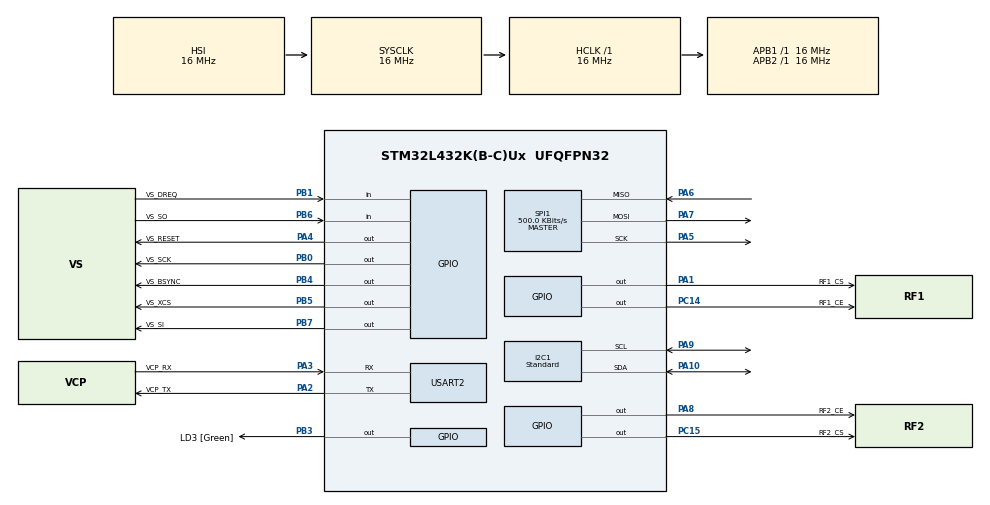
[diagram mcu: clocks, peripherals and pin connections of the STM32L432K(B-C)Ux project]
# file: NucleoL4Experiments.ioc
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I2C1.I2C_Speed_Mode=I2C_Standard
I2C1.Timing=0x00303D5B
Mcu.Family=STM32L4
Mcu.Name=STM32L432K(B-C)Ux
Mcu.Package=UFQFPN32
NVIC.PriorityGroup=NVIC_PRIORITYGROUP_4
NVIC.USART2_IRQn=true\:0\:0\:false\:false\:true\:true
PA0.Signal=RCC_CK_IN
PA1.GPIO_Label=RF1_CS
PA1.GPIO_Speed=GPIO_SPEED_FREQ_VERY_HIGH
PA1.PinState=GPIO_PIN_SET
PA1.Signal=GPIO_Output
PA10.Mode=I2C
PA10.Signal=I2C1_SDA
PA11.Signal=USB_DM
PA12.Signal=USB_DP
PA13\ (JTMS-SWDIO).GPIO_Label=SWDIO
PA13\ (JTMS-SWDIO).Mode=Serial_Wire
PA13\ (JTMS-SWDIO).Signal=SYS_JTMS-SWDIO
PA14\ (JTCK-SWCLK).GPIO_Label=SWCLK
PA14\ (JTCK-SWCLK).Mode=Serial_Wire
PA14\ (JTCK-SWCLK).Signal=SYS_JTCK-SWCLK
PA2.GPIO_Label=VCP_TX
PA2.Mode=Asynchronous
PA2.Signal=USART2_TX
PA3.GPIO_Label=VCP_RX
PA3.Mode=Asynchronous
PA3.Signal=USART2_RX
PA4.GPIO_Label=VS_RESET
PA4.PinState=GPIO_PIN_SET
PA4.Signal=GPIO_Output
PA5.Mode=Full_Duplex_Master
PA5.Signal=SPI1_SCK
PA6.Mode=Full_Duplex_Master
PA6.Signal=SPI1_MISO
PA7.Mode=Full_Duplex_Master
PA7.Signal=SPI1_MOSI
PA8.GPIO_Label=RF2_CE
PA8.GPIO_Speed=GPIO_SPEED_FREQ_VERY_HIGH
PA8.Signal=GPIO_Output
PA9.Mode=I2C
PA9.Signal=I2C1_SCL
PB0.GPIO_Label=VS_SCK
PB0.GPIO_Speed=GPIO_SPEED_FREQ_VERY_HIGH
PB0.Signal=GPIO_Output
PB1.GPIO_Label=VS_DREQ
PB1.Signal=GPIO_Input
PB3\ (JTDO-TRACESWO).GPIO_Label=LD3 [Green]
PB3\ (JTDO-TRACESWO).Signal=GPIO_Output
PB4\ (NJTRST).GPIO_Label=VS_BSYNC
PB4\ (NJTRST).GPIO_Speed=GPIO_SPEED_FREQ_VERY_HIGH
PB4\ (NJTRST).PinState=GPIO_PIN_SET
PB4\ (NJTRST).Signal=GPIO_Output
PB5.GPIO_Label=VS_XCS
PB5.GPIO_Speed=GPIO_SPEED_FREQ_VERY_HIGH
PB5.PinState=GPIO_PIN_SET
PB5.Signal=GPIO_Output
PB6.GPIO_Label=VS_SO
PB6.Signal=GPIO_Input
PB7.GPIO_Label=VS_SI
PB7.GPIO_Speed=GPIO_SPEED_FREQ_VERY_HIGH
PB7.Signal=GPIO_Output
PC14-OSC32_IN\ (PC14).GPIO_Label=RF1_CE
PC14-OSC32_IN\ (PC14).GPIO_Speed=GPIO_SPEED_FREQ_VERY_HIGH
PC14-OSC32_IN\ (PC14).Signal=GPIO_Output
PC15-OSC32_OUT\ (PC15).GPIO_Label=RF2_CS
PC15-OSC32_OUT\ (PC15).GPIO_Speed=GPIO_SPEED_FREQ_LOW
PC15-OSC32_OUT\ (PC15).PinState=GPIO_PIN_SET
PC15-OSC32_OUT\ (PC15).Signal=GPIO_Output
ProjectManager.HeapSize=0x200
ProjectManager.StackSize=0x400
ProjectManager.TargetToolchain=TrueSTUDIO
RCC.ADCFreq_Value=96000000
RCC.AHBFreq_Value=16000000
RCC.APB1Freq_Value=16000000
RCC.APB1TimFreq_Value=16000000
RCC.APB2Freq_Value=16000000
RCC.APB2TimFreq_Value=16000000
RCC.CortexFreq_Value=16000000
RCC.HCLKFreq_Value=16000000
RCC.HSE_VALUE=8000000
RCC.HSI16_VALUE=16000000
RCC.HSI48_VALUE=48000000
RCC.HSI_VALUE=16000000
RCC.LSE_VALUE=32768
RCC.MSI_VALUE=4000000
RCC.PLLMUL=RCC_PLLMUL_4
RCC.PLLN=20
RCC.PLLSAI1N=12
RCC.PLLSourceVirtual=RCC_PLLSOURCE_HSI
RCC.SYSCLKFreq_VALUE=16000000
RCC.SYSCLKSource=RCC_SYSCLKSOURCE_HSI
RCC.USBFreq_Value=96000000
RCC.VCOOutputFreq_Value=320000000
SPI1.BaudRatePrescaler=SPI_BAUDRATEPRESCALER_32
SPI1.CalculateBaudRate=500.0 KBits/s
SPI1.DataSize=SPI_DATASIZE_8BIT
SPI1.Direction=SPI_DIRECTION_2LINES
SPI1.Mode=SPI_MODE_MASTER
SPI1.VirtualType=VM_MASTER
USART2.VirtualMode-Asynchronous=VM_ASYNC
board=NUCLEO-L432KC

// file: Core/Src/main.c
/**
  ******************************************************************************
  * @file           : main.c
  * @brief          : Main program body
  ******************************************************************************
  ** This notice applies to any and all portions of this file
  * that are not between comment pairs USER CODE BEGIN and
  * USER CODE END. Other portions of this file, whether
  * inserted by the user or by software development tools
  * are owned by their respective copyright owners.
  *
  * COPYRIGHT(c) 2018 STMicroelectronics
  *
  * Redistribution and use in source and binary forms, with or without modification,
  * are permitted provided that the following conditions are met:
  *   1. Redistributions of source code must retain the above copyright notice,
  *      this list of conditions and the following disclaimer.
  *   2. Redistributions in binary form must reproduce the above copyright notice,
  *      this list of conditions and the following disclaimer in the documentation
  *      and/or other materials provided with the distribution.
  *   3. Neither the name of STMicroelectronics nor the names of its contributors
  *      may be used to endorse or promote products derived from this software
  *      without specific prior written permission.
  *
  * THIS SOFTWARE IS PROVIDED BY THE COPYRIGHT HOLDERS AND CONTRIBUTORS "AS IS"
  * AND ANY EXPRESS OR IMPLIED WARRANTIES, INCLUDING, BUT NOT LIMITED TO, THE
  * IMPLIED WARRANTIES OF MERCHANTABILITY AND FITNESS FOR A PARTICULAR PURPOSE ARE
  * DISCLAIMED. IN NO EVENT SHALL THE COPYRIGHT HOLDER OR CONTRIBUTORS BE LIABLE
  * FOR ANY DIRECT, INDIRECT, INCIDENTAL, SPECIAL, EXEMPLARY, OR CONSEQUENTIAL
  * DAMAGES (INCLUDING, BUT NOT LIMITED TO, PROCUREMENT OF SUBSTITUTE GOODS OR
  * SERVICES; LOSS OF USE, DATA, OR PROFITS; OR BUSINESS INTERRUPTION) HOWEVER
  * CAUSED AND ON ANY THEORY OF LIABILITY, WHETHER IN CONTRACT, STRICT LIABILITY,
  * OR TORT (INCLUDING NEGLIGENCE OR OTHERWISE) ARISING IN ANY WAY OUT OF THE USE
  * OF THIS SOFTWARE, EVEN IF ADVISED OF THE POSSIBILITY OF SUCH DAMAGE.
  *
  ******************************************************************************
  */
#include "main.h"
#include "stm32l4xx_hal.h"
#include "i2c.h"
#include "spi.h"
#include "usart.h"
#include "gpio.h"

/* USER CODE BEGIN Includes */

#include <stdbool.h>
#include <stdlib.h>
#include "vl53l0x_api.h"
//#include "player.h"
//#include "vs10xx.h"

/* USER CODE END Includes */

/* USER CODE BEGIN PV */
/* Private variables ---------------------------------------------------------*/

uint8_t rgbAddress[] = { 0xC0, 0xC2, 0xC4, 0xC6, 0xC8, 0xCA };

#define RGB_DRIVERS_CNT (sizeof(rgbAddress)/sizeof(rgbAddress[0]))

/* USER CODE END PV */

void SystemClock_Config(void);

/* USER CODE BEGIN PFP */
/* Private function prototypes -----------------------------------------------*/

void setRGB(size_t index, uint32_t rgb);

/* USER CODE END PFP */

/* USER CODE BEGIN 0 */

int _write(int file, char *ptr, int len)
{
  HAL_UART_Transmit(&huart2, (uint8_t*)ptr, len, 0x1000);
  return len;
}

//void WriteSci(u_int8 addr, u_int16 data)
//{
//    uint8_t i, tmp = 0b00000010;
//
//    // initially
//    // XCS 1
//    HAL_GPIO_WritePin(VS_XCS_GPIO_Port, VS_XCS_Pin, GPIO_PIN_SET);
//    // SCK 0
//    HAL_GPIO_WritePin(VS_SCK_GPIO_Port, VS_SCK_Pin, GPIO_PIN_RESET);
//    // SI x
//    // SO x
//    // DREQ 1
//    while (HAL_GPIO_ReadPin(VS_DREQ_GPIO_Port, VS_DREQ_Pin) == GPIO_PIN_RESET)
//        HAL_Delay(10);
//
//    // XCS = 0
//    HAL_GPIO_WritePin(VS_XCS_GPIO_Port, VS_XCS_Pin, GPIO_PIN_RESET);
//    // to SI 00000010 with SCK 10
//    for (i = 0; i < 8; i++)
//    {
//        HAL_GPIO_WritePin(VS_SI_GPIO_Port, VS_SI_Pin,
//                ((tmp&0x80)?GPIO_PIN_SET:GPIO_PIN_RESET));
//        tmp = tmp << 1;
//        HAL_GPIO_WritePin(VS_SCK_GPIO_Port, VS_SCK_Pin, GPIO_PIN_SET);
//        HAL_Delay(1);
//        HAL_GPIO_WritePin(VS_SCK_GPIO_Port, VS_SCK_Pin, GPIO_PIN_RESET);
//        HAL_Delay(1);
//    }
//    // to SI msb8address with SCK 10
//    for (i = 0; i < 8; i++)
//    {
//        HAL_GPIO_WritePin(VS_SI_GPIO_Port, VS_SI_Pin,
//                ((addr&0x80)?GPIO_PIN_SET:GPIO_PIN_RESET));
//        addr = addr << 1;
//        HAL_GPIO_WritePin(VS_SCK_GPIO_Port, VS_SCK_Pin, GPIO_PIN_SET);
//        HAL_Delay(1);
//        HAL_GPIO_WritePin(VS_SCK_GPIO_Port, VS_SCK_Pin, GPIO_PIN_RESET);
//        HAL_Delay(1);
//    }
//    // to SI msb16data with SCK 10
//    for (i = 0; i < 16; i++)
//    {
//        HAL_GPIO_WritePin(VS_SI_GPIO_Port, VS_SI_Pin,
//                ((data&0x8000)?GPIO_PIN_SET:GPIO_PIN_RESET));
//        data = data << 1;
//        HAL_GPIO_WritePin(VS_SCK_GPIO_Port, VS_SCK_Pin, GPIO_PIN_SET);
//        HAL_Delay(1);
//        HAL_GPIO_WritePin(VS_SCK_GPIO_Port, VS_SCK_Pin, GPIO_PIN_RESET);
//        HAL_Delay(1);
//    }
//    // DREQ = 0
//    // XCS = 1
//    HAL_GPIO_WritePin(VS_XCS_GPIO_Port, VS_XCS_Pin, GPIO_PIN_SET);
//    // DREQ = 1
//    while (HAL_GPIO_ReadPin(VS_DREQ_GPIO_Port, VS_DREQ_Pin) == GPIO_PIN_RESET)
//        HAL_Delay(10);
//}
//
//u_int16 ReadSci(u_int8 addr)
//{
//    uint8_t i, tmp = 0b00000011;
//    uint16_t data = 0;
//    // initially
//    // XCS 1
//    HAL_GPIO_WritePin(VS_XCS_GPIO_Port, VS_XCS_Pin, GPIO_PIN_SET);
//    // SCK 0
//    HAL_GPIO_WritePin(VS_SCK_GPIO_Port, VS_SCK_Pin, GPIO_PIN_RESET);
//    // SI x
//    // SO x
//    // DREQ 1
//    while (HAL_GPIO_ReadPin(VS_DREQ_GPIO_Port, VS_DREQ_Pin) == GPIO_PIN_RESET)
//        HAL_Delay(10);
//
//    // XCS = 0
//    HAL_GPIO_WritePin(VS_XCS_GPIO_Port, VS_XCS_Pin, GPIO_PIN_RESET);
//    // to SI 00000011 with SCK 10
//    for (i = 0; i < 8; i++)
//    {
//        HAL_GPIO_WritePin(VS_SI_GPIO_Port, VS_SI_Pin,
//                ((tmp&0x80)?GPIO_PIN_SET:GPIO_PIN_RESET));
//        tmp = tmp << 1;
//        HAL_GPIO_WritePin(VS_SCK_GPIO_Port, VS_SCK_Pin, GPIO_PIN_SET);
//        HAL_Delay(1);
//        HAL_GPIO_WritePin(VS_SCK_GPIO_Port, VS_SCK_Pin, GPIO_PIN_RESET);
//        HAL_Delay(1);
//    }
//    // to SI msb8address with SCK 10
//    for (i = 0; i < 8; i++)
//    {
//        HAL_GPIO_WritePin(VS_SI_GPIO_Port, VS_SI_Pin,
//                ((addr&0x80)?GPIO_PIN_SET:GPIO_PIN_RESET));
//        addr = addr << 1;
//        HAL_GPIO_WritePin(VS_SCK_GPIO_Port, VS_SCK_Pin, GPIO_PIN_SET);
//        HAL_Delay(1);
//        HAL_GPIO_WritePin(VS_SCK_GPIO_Port, VS_SCK_Pin, GPIO_PIN_RESET);
//        HAL_Delay(1);
//    }
//    // from SO msb16data with SCK 10
//    for (i = 0; i < 16; i++)
//    {
//        HAL_GPIO_WritePin(VS_SCK_GPIO_Port, VS_SCK_Pin, GPIO_PIN_SET);
//        HAL_Delay(1);
//        if (HAL_GPIO_ReadPin(VS_SO_GPIO_Port, VS_SO_Pin) == GPIO_PIN_SET)
//            data |= (0x0001 << (15-i));
//        HAL_GPIO_WritePin(VS_SCK_GPIO_Port, VS_SCK_Pin, GPIO_PIN_RESET);
//        HAL_Delay(1);
//    }
//    // DREQ = 0
//    // XCS = 1
//    HAL_GPIO_WritePin(VS_XCS_GPIO_Port, VS_XCS_Pin, GPIO_PIN_SET);
//    // DREQ = 1
//    while (HAL_GPIO_ReadPin(VS_DREQ_GPIO_Port, VS_DREQ_Pin) == GPIO_PIN_RESET)
//        HAL_Delay(10);
//
//    return data;
//}

void initRGB(void)
{
    uint8_t addrBuf[4] = { 0x14, 0x15, 0x16, 0x17 };
    uint8_t cfgBuf[4] = { 0b10101010, 0b10101010, 0b10101010, 0b00101010 };
    uint8_t modeBuf[2] = { 0b00000001, 0b00000000 };

    for (size_t i = 0; i < RGB_DRIVERS_CNT; i++)
    {
        HAL_StatusTypeDef res = HAL_I2C_Mem_Write(&hi2c1, rgbAddress[i], 0x00,
                I2C_MEMADD_SIZE_8BIT, modeBuf, 1, 1000);
        if (res != HAL_OK)
        {
            HAL_I2C_DeInit(&hi2c1);
            MX_I2C1_Init();
        }

        HAL_Delay(1);

        for (size_t j = 0; j < 4; j++)
        {
            HAL_StatusTypeDef res = HAL_I2C_Mem_Write(&hi2c1, rgbAddress[i], addrBuf[j], I2C_MEMADD_SIZE_8BIT, &cfgBuf[j], 1, 1000);
            if (res != HAL_OK)
            {
                HAL_I2C_DeInit(&hi2c1);
                MX_I2C1_Init();
            }
        }
    }

    for (size_t i = 0; i < 30; i++)
    {
        setRGB(i, 0);
    }
}

void setRGB(size_t index, uint32_t rgb)
{
    size_t driverIndex = index / 5;
    size_t ledIndex = index % 5;
    if (driverIndex > 1)
        ledIndex = 4 - ledIndex;

    if (driverIndex >= RGB_DRIVERS_CNT) return;

    uint8_t* bytes = (uint8_t*)&rgb;

    HAL_StatusTypeDef res = HAL_I2C_Mem_Write(&hi2c1, rgbAddress[driverIndex],
            (0x02 + ledIndex*3 + 0), I2C_MEMADD_SIZE_8BIT, &bytes[0], 1, 1000);
    if (res != HAL_OK)
    {
        HAL_I2C_DeInit(&hi2c1);
        MX_I2C1_Init();
    }
    res = HAL_I2C_Mem_Write(&hi2c1, rgbAddress[driverIndex],
            (0x02 + ledIndex*3 + 1), I2C_MEMADD_SIZE_8BIT, &bytes[1], 1, 1000);
    if (res != HAL_OK)
    {
        HAL_I2C_DeInit(&hi2c1);
        MX_I2C1_Init();
    }
    res = HAL_I2C_Mem_Write(&hi2c1, rgbAddress[driverIndex],
            (0x02 + ledIndex*3 + 2), I2C_MEMADD_SIZE_8BIT, &bytes[2], 1, 1000);
    if (res != HAL_OK)
    {
        HAL_I2C_DeInit(&hi2c1);
        MX_I2C1_Init();
    }
}

void setRGBAll(uint32_t rgb)
{
    size_t i;
    static uint32_t last = 0;
    if (rgb != last)
    {
        initRGB();
        last = rgb;
        for (i = 0; i < 30; i++)
            setRGB(i, rgb);
    }
}

void print_pal_error(VL53L0X_Error Status){
    char buf[VL53L0X_MAX_STRING_LENGTH];
    VL53L0X_GetPalErrorString(Status, buf);
    printf("API Status: %i : %s\n", Status, buf);
}

VL53L0X_Error WaitMeasurementDataReady(VL53L0X_DEV Dev) {
    VL53L0X_Error Status = VL53L0X_ERROR_NONE;
    uint8_t NewDatReady=0;
    uint32_t LoopNb;

    // Wait until it finished
    // use timeout to avoid deadlock
    if (Status == VL53L0X_ERROR_NONE) {
        LoopNb = 0;
        do {
            Status = VL53L0X_GetMeasurementDataReady(Dev, &NewDatReady);
            if ((NewDatReady == 0x01) || Status != VL53L0X_ERROR_NONE) {
                break;
            }
            LoopNb = LoopNb + 1;
            VL53L0X_PollingDelay(Dev);
        } while (LoopNb < VL53L0X_DEFAULT_MAX_LOOP);

        if (LoopNb >= VL53L0X_DEFAULT_MAX_LOOP) {
            Status = VL53L0X_ERROR_TIME_OUT;
        }
    }

    return Status;
}

VL53L0X_Error WaitStopCompleted(VL53L0X_DEV Dev) {
    VL53L0X_Error Status = VL53L0X_ERROR_NONE;
    uint32_t StopCompleted=0;
    uint32_t LoopNb;

    // Wait until it finished
    // use timeout to avoid deadlock
    if (Status == VL53L0X_ERROR_NONE) {
        LoopNb = 0;
        do {
            Status = VL53L0X_GetStopCompletedStatus(Dev, &StopCompleted);
            if ((StopCompleted == 0x00) || Status != VL53L0X_ERROR_NONE) {
                break;
            }
            LoopNb = LoopNb + 1;
            VL53L0X_PollingDelay(Dev);
        } while (LoopNb < VL53L0X_DEFAULT_MAX_LOOP);

        if (LoopNb >= VL53L0X_DEFAULT_MAX_LOOP) {
            Status = VL53L0X_ERROR_TIME_OUT;
        }

    }

    return Status;
}

uint32_t color = 0;
uint32_t duration = 0;
uint8_t doit = 0;
uint8_t amber = 0;
uint8_t rxbuf[16];

VL53L0X_Error rangingTest(VL53L0X_Dev_t *pMyDevice)
{
    VL53L0X_RangingMeasurementData_t    RangingMeasurementData;
    VL53L0X_RangingMeasurementData_t   *pRangingMeasurementData    = &RangingMeasurementData;
    VL53L0X_Error Status = VL53L0X_ERROR_NONE;
    uint32_t refSpadCount;
    uint8_t isApertureSpads;
    uint8_t VhvSettings;
    uint8_t PhaseCal;

    if(Status == VL53L0X_ERROR_NONE)
    {
        printf("Call of VL53L0X_StaticInit\n");
        Status = VL53L0X_StaticInit(pMyDevice); // Device Initialization
        // StaticInit will set interrupt by default
        print_pal_error(Status);
    }

    if(Status == VL53L0X_ERROR_NONE)
    {
        printf("Call of VL53L0X_PerformRefCalibration\n");
        Status = VL53L0X_PerformRefCalibration(pMyDevice,
                &VhvSettings, &PhaseCal); // Device Initialization
        print_pal_error(Status);
    }

    if(Status == VL53L0X_ERROR_NONE)
    {
        printf("Call of VL53L0X_PerformRefSpadManagement\n");
        Status = VL53L0X_PerformRefSpadManagement(pMyDevice,
                &refSpadCount, &isApertureSpads); // Device Initialization
        print_pal_error(Status);
    }

    if(Status == VL53L0X_ERROR_NONE)
    {

        printf("Call of VL53L0X_SetDeviceMode\n");
        Status = VL53L0X_SetDeviceMode(pMyDevice, VL53L0X_DEVICEMODE_CONTINUOUS_RANGING); // Setup in single ranging mode
        print_pal_error(Status);
    }

    if(Status == VL53L0X_ERROR_NONE)
    {
        printf("Call of VL53L0X_StartMeasurement\n");
        Status = VL53L0X_StartMeasurement(pMyDevice);
        print_pal_error(Status);
    }

    if(Status == VL53L0X_ERROR_NONE)
    {
//        uint32_t measurement;
//        uint32_t no_of_measurements = 32;

//        uint16_t* pResults = (uint16_t*)malloc(sizeof(uint16_t) * no_of_measurements);

//        for(measurement=0; measurement<no_of_measurements; measurement++)
        while (Status == VL53L0X_ERROR_NONE)
        {

            Status = WaitMeasurementDataReady(pMyDevice);

            if(Status == VL53L0X_ERROR_NONE)
            {
                Status = VL53L0X_GetRangingMeasurementData(pMyDevice, pRangingMeasurementData);

//                *(pResults + measurement) = pRangingMeasurementData->RangeMilliMeter;
                printf("%d\n", (int)pRangingMeasurementData->RangeMilliMeter);

                if (pRangingMeasurementData->RangeMilliMeter < 600)
                {
                    if (!amber)
                    {
                        setRGBAll(0x0FBF00);
                        amber = 1;
                    }
                }
                else if (amber)
                {
                    setRGBAll(0);
                    amber = 0;
                }

                if (doit)
                {
                    setRGBAll(color);
                    HAL_Delay(duration);
                    if (amber) setRGBAll(0x0FBF00);
                    else setRGBAll(0);
                    doit = 0;
                }

                HAL_UART_Receive_IT(&huart2, rxbuf, 1);

                // Clear the interrupt
                VL53L0X_ClearInterruptMask(pMyDevice, VL53L0X_REG_SYSTEM_INTERRUPT_GPIO_NEW_SAMPLE_READY);
                VL53L0X_PollingDelay(pMyDevice);
            } else {
                break;
            }
        }

//        if(Status == VL53L0X_ERROR_NONE)
//        {
//            for(measurement=0; measurement<no_of_measurements; measurement++)
//            {
//                char str[64];
//                snprintf(str, 64, "measurement %d: %d\n", (int)measurement, *(pResults + measurement));
//                uartLog(str);
//            }
//        }

//        free(pResults);
    }

    if(Status == VL53L0X_ERROR_NONE)
    {
        printf("Call of VL53L0X_StopMeasurement\n");
        Status = VL53L0X_StopMeasurement(pMyDevice);
    }

    if(Status == VL53L0X_ERROR_NONE)
    {
        printf("Wait Stop to be competed\n");
        Status = WaitStopCompleted(pMyDevice);
    }

    if(Status == VL53L0X_ERROR_NONE)
    Status = VL53L0X_ClearInterruptMask(pMyDevice,
        VL53L0X_REG_SYSTEM_INTERRUPT_GPIO_NEW_SAMPLE_READY);

    return Status;
}

/* USER CODE END 0 */

int main(void)
{
  /* USER CODE BEGIN 1 */
    VL53L0X_Error Status = VL53L0X_ERROR_NONE;
    VL53L0X_Dev_t MyDevice;
    VL53L0X_DeviceInfo_t DeviceInfo;
  /* USER CODE END 1 */

  /* MCU Configuration----------------------------------------------------------*/

  /* Reset of all peripherals, Initializes the Flash interface and the Systick. */
  HAL_Init();

  /* Configure the system clock */
  SystemClock_Config();

  /* Initialize all configured peripherals */
  MX_GPIO_Init();
  MX_USART2_UART_Init();
  MX_SPI1_Init();
  MX_I2C1_Init();
  /* USER CODE BEGIN 2 */

  initRGB();

//  VSTestInitHardware();
//  VSTestInitSoftware();

//  Mp3Reset();

//  printf("Scanning for I2C devices\n");
//  while (1)
//  {
//      for (uint8_t i = 0; i < 254; i++)
//      {
//          uint8_t data;
//          if (HAL_I2C_Mem_Read(&hi2c1, i, 0x00, I2C_MEMADD_SIZE_8BIT, &data,
//                  1, 50) == HAL_OK)
//          {
//              printf("Found device at address 0x%02X\n", i);
//          }
//          else
//          {
//              HAL_I2C_DeInit(&hi2c1);
//              MX_I2C1_Init();
//          }
//      }
//      HAL_Delay(3000);
//  }

  // Initialize Comms
  MyDevice.I2cDevAddr      = 0x52;
  MyDevice.I2cPtr = &hi2c1;

  if(Status == VL53L0X_ERROR_NONE)
  {
      printf ("Call of VL53L0X_DataInit\n");
      Status = VL53L0X_DataInit(&MyDevice); // Data initialization
      print_pal_error(Status);
  }

  if(Status == VL53L0X_ERROR_NONE)
  {
      Status = VL53L0X_GetDeviceInfo(&MyDevice, &DeviceInfo);
  }
  if(Status == VL53L0X_ERROR_NONE)
  {
      printf("VL53L0X_GetDeviceInfo:\n");
      printf("Device Name : %s\n", DeviceInfo.Name);
      printf("Device Type : %s\n", DeviceInfo.Type);
      printf("Device ID : %s\n", DeviceInfo.ProductId);
      printf("ProductRevisionMajor : %d\n", DeviceInfo.ProductRevisionMajor);
      printf("ProductRevisionMinor : %d\n", DeviceInfo.ProductRevisionMinor);

      if ((DeviceInfo.ProductRevisionMinor != 1) && (DeviceInfo.ProductRevisionMinor != 1)) {
          printf("Error expected cut 1.1 but found cut %d.%d\n",
                  DeviceInfo.ProductRevisionMajor, DeviceInfo.ProductRevisionMinor);
          Status = VL53L0X_ERROR_NOT_SUPPORTED;
      }
  }

  HAL_UART_Receive_IT(&huart2, rxbuf, 1);

  /* USER CODE END 2 */

  /* Infinite loop */
  /* USER CODE BEGIN WHILE */
  while (1)
  {
//      VsSineTest();

      Status = rangingTest(&MyDevice);
      print_pal_error(Status);

//      for (size_t i = 0; i < 30; i++)
//      {
////          setRGB(i, 0x000F0000);
//          setRGB(i, 0x0000FF00);
//          HAL_Delay(100);
//          setRGB(i, 0);
//      }
//      for (size_t i = 0; i < 30; i++)
//      {
////          setRGB(29-i, 0x000F0000);
//          setRGB(29-i, 0x0000FF00);
//          HAL_Delay(100);
//          setRGB(29-i, 0);
//      }

//      for (size_t i = 0; i < 30; i++)
//          setRGB(i, 128, 0, 0);
//      HAL_Delay(2500);
//      for (size_t i = 0; i < 30; i++)
//          setRGB(i, 0, 128, 0);
//      HAL_Delay(2500);
//      for (size_t i = 0; i < 30; i++)
//          setRGB(i, 0, 0, 12);
//      HAL_Delay(2500);
//      for (size_t i = 0; i < 30; i++)
//          setRGB(i, 0, 0, 0);

  /* USER CODE END WHILE */

  /* USER CODE BEGIN 3 */
//      HAL_Delay(2000);
  }
  /* USER CODE END 3 */

}

void SystemClock_Config(void)
{

  RCC_OscInitTypeDef RCC_OscInitStruct;
  RCC_ClkInitTypeDef RCC_ClkInitStruct;
  RCC_PeriphCLKInitTypeDef PeriphClkInit;

    /**Initializes the CPU, AHB and APB busses clocks
    */
  RCC_OscInitStruct.OscillatorType = RCC_OSCILLATORTYPE_HSI;
  RCC_OscInitStruct.HSIState = RCC_HSI_ON;
  RCC_OscInitStruct.HSICalibrationValue = 16;
  RCC_OscInitStruct.PLL.PLLState = RCC_PLL_NONE;
  if (HAL_RCC_OscConfig(&RCC_OscInitStruct) != HAL_OK)
  {
    _Error_Handler(__FILE__, __LINE__);
  }

    /**Initializes the CPU, AHB and APB busses clocks
    */
  RCC_ClkInitStruct.ClockType = RCC_CLOCKTYPE_HCLK|RCC_CLOCKTYPE_SYSCLK
                              |RCC_CLOCKTYPE_PCLK1|RCC_CLOCKTYPE_PCLK2;
  RCC_ClkInitStruct.SYSCLKSource = RCC_SYSCLKSOURCE_HSI;
  RCC_ClkInitStruct.AHBCLKDivider = RCC_SYSCLK_DIV1;
  RCC_ClkInitStruct.APB1CLKDivider = RCC_HCLK_DIV1;
  RCC_ClkInitStruct.APB2CLKDivider = RCC_HCLK_DIV1;

  if (HAL_RCC_ClockConfig(&RCC_ClkInitStruct, FLASH_LATENCY_0) != HAL_OK)
  {
    _Error_Handler(__FILE__, __LINE__);
  }

  PeriphClkInit.PeriphClockSelection = RCC_PERIPHCLK_USART2|RCC_PERIPHCLK_I2C1;
  PeriphClkInit.Usart2ClockSelection = RCC_USART2CLKSOURCE_PCLK1;
  PeriphClkInit.I2c1ClockSelection = RCC_I2C1CLKSOURCE_PCLK1;
  if (HAL_RCCEx_PeriphCLKConfig(&PeriphClkInit) != HAL_OK)
  {
    _Error_Handler(__FILE__, __LINE__);
  }

    /**Configure the main internal regulator output voltage
    */
  if (HAL_PWREx_ControlVoltageScaling(PWR_REGULATOR_VOLTAGE_SCALE1) != HAL_OK)
  {
    _Error_Handler(__FILE__, __LINE__);
  }

    /**Configure the Systick interrupt time
    */
  HAL_SYSTICK_Config(HAL_RCC_GetHCLKFreq()/1000);

    /**Configure the Systick
    */
  HAL_SYSTICK_CLKSourceConfig(SYSTICK_CLKSOURCE_HCLK);

  /* SysTick_IRQn interrupt configuration */
  HAL_NVIC_SetPriority(SysTick_IRQn, 0, 0);
}

/* USER CODE BEGIN 4 */

void HAL_UART_RxCpltCallback(UART_HandleTypeDef *huart)
{
    static uint8_t msgbuf[32];
    static uint8_t msgind = 0;

    msgbuf[msgind] = rxbuf[0];

    if (msgbuf[msgind] == '\n' || msgbuf[msgind] == '\r')
    {
        msgbuf[msgind] = '\0';

        if (msgind >= 8 && doit == 0)
        {
            msgbuf[6] = '\0';
            sscanf((char*)msgbuf, "%06lx", &color);
            sscanf((char*)&msgbuf[7], "%lu", &duration);

            doit = 1;
        }

        msgind = 0;
    }
    else msgind++;

    if (msgind >= 32) msgind = 0;

    HAL_UART_Receive_IT(&huart2, rxbuf, 1);
}

/* USER CODE END 4 */

void _Error_Handler(char *file, int line)
{
  while(1)
  {
  }
}

/************************ (C) COPYRIGHT STMicroelectronics *****END OF FILE****/
